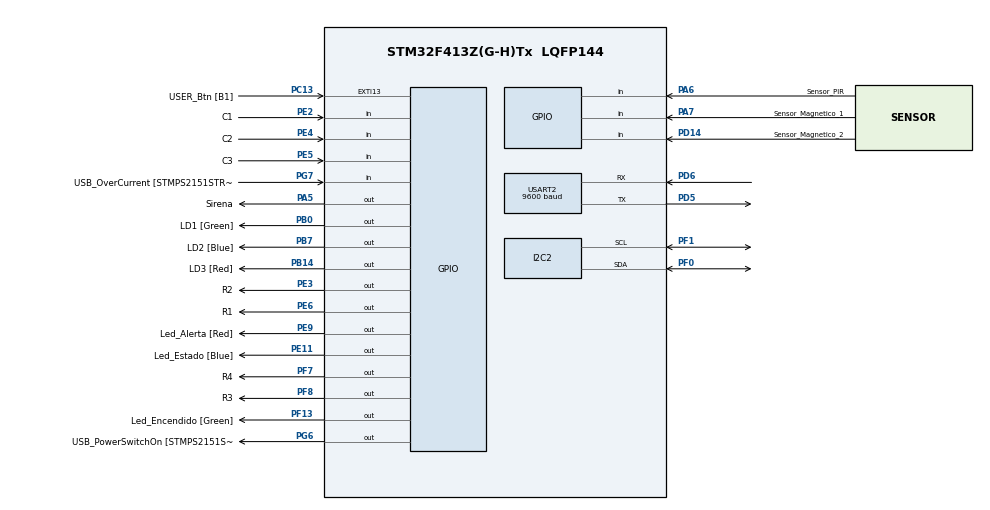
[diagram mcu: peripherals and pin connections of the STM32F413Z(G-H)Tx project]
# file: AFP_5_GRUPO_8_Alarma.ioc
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Mcu.Family=STM32F4
Mcu.Name=STM32F413Z(G-H)Tx
Mcu.Package=LQFP144
NVIC.PriorityGroup=NVIC_PRIORITYGROUP_4
NVIC.USART2_IRQn=true\:0\:0\:false\:false\:true\:true\:true\:true
PA13.GPIO_Label=TMS
PA13.Mode=Serial_Wire
PA13.Signal=SYS_JTMS-SWDIO
PA14.GPIO_Label=TCK
PA14.Mode=Serial_Wire
PA14.Signal=SYS_JTCK-SWCLK
PA5.GPIO_Label=Sirena
PA5.GPIO_PuPd=GPIO_PULLDOWN
PA5.Signal=GPIO_Output
PA6.GPIO_Label=Sensor_PIR
PA6.Signal=GPIO_Input
PA7.GPIO_Label=Sensor_Magnetico_1
PA7.Signal=GPIO_Input
PB0.GPIO_Label=LD1 [Green]
PB0.Signal=GPIO_Output
PB14.GPIO_Label=LD3 [Red]
PB14.Signal=GPIO_Output
PB7.GPIO_Label=LD2 [Blue]
PB7.Signal=GPIO_Output
PC13.GPIO_Label=USER_Btn [B1]
PC13.Signal=GPXTI13
PC14-OSC32_IN.Mode=LSE-External-Oscillator
PC14-OSC32_IN.Signal=RCC_OSC32_IN
PC15-OSC32_OUT.Mode=LSE-External-Oscillator
PC15-OSC32_OUT.Signal=RCC_OSC32_OUT
PD14.GPIO_Label=Sensor_Magnetico_2
PD14.Signal=GPIO_Input
PD5.Mode=Asynchronous
PD5.Signal=USART2_TX
PD6.Mode=Asynchronous
PD6.Signal=USART2_RX
PE11.GPIO_Label=Led_Estado [Blue]
PE11.Signal=GPIO_Output
PE2.GPIO_Label=C1
PE2.GPIO_PuPd=GPIO_PULLUP
PE2.Signal=GPIO_Input
PE3.GPIO_Label=R2
PE3.GPIO_ModeDefaultOutputPP=GPIO_MODE_OUTPUT_PP
PE3.PinState=GPIO_PIN_SET
PE3.Signal=GPIO_Output
PE4.GPIO_Label=C2
PE4.GPIO_PuPd=GPIO_PULLUP
PE4.Signal=GPIO_Input
PE5.GPIO_Label=C3
PE5.GPIO_PuPd=GPIO_PULLUP
PE5.Signal=GPIO_Input
PE6.GPIO_Label=R1
PE6.PinState=GPIO_PIN_SET
PE6.Signal=GPIO_Output
PE9.GPIO_Label=Led_Alerta [Red]
PE9.Signal=GPIO_Output
PF0.Mode=I2C
PF0.Signal=I2C2_SDA
PF1.Mode=I2C
PF1.Signal=I2C2_SCL
PF13.GPIO_Label=Led_Encendido [Green]
PF13.Signal=GPIO_Output
PF7.GPIO_Label=R4
PF7.PinState=GPIO_PIN_SET
PF7.Signal=GPIO_Output
PF8.GPIO_Label=R3
PF8.PinState=GPIO_PIN_SET
PF8.Signal=GPIO_Output
PG6.GPIO_Label=USB_PowerSwitchOn [STMPS2151STR_EN]
PG6.Signal=GPIO_Output
PG7.GPIO_Label=USB_OverCurrent [STMPS2151STR_FAULT]
PG7.Signal=GPIO_Input
PH0\ -\ OSC_IN.GPIO_Label=MCO
PH0\ -\ OSC_IN.Mode=HSE-External-Clock-Source
PH0\ -\ OSC_IN.Signal=RCC_OSC_IN
PH1\ -\ OSC_OUT.Mode=HSE-External-Clock-Source
PH1\ -\ OSC_OUT.Signal=RCC_OSC_OUT
ProjectManager.HeapSize=0x200
ProjectManager.StackSize=0x400
ProjectManager.TargetToolchain=STM32CubeIDE
RCC.48MHZClocksFreq_Value=24000000
RCC.AHBFreq_Value=96000000
RCC.APB1CLKDivider=RCC_HCLK_DIV2
RCC.APB1Freq_Value=48000000
RCC.APB1TimFreq_Value=96000000
RCC.APB2Freq_Value=96000000
RCC.APB2TimFreq_Value=96000000
RCC.CortexFreq_Value=96000000
RCC.HCLKFreq_Value=96000000
RCC.HSE_VALUE=8000000
RCC.HSI_VALUE=16000000
RCC.PLLM=8
RCC.PLLMUL=RCC_PLL_MUL9
RCC.PLLN=384
RCC.PLLP=RCC_PLLP_DIV4
RCC.PLLQ=8
RCC.PLLSourceVirtual=RCC_PLLSOURCE_HSE
RCC.PRESCALERUSB=RCC_USBCLKSOURCE_PLL_DIV1_5
RCC.SYSCLKFreq_VALUE=96000000
RCC.SYSCLKSource=RCC_SYSCLKSOURCE_PLLCLK
RCC.SYSCLKSourceVirtual=RCC_SYSCLKSOURCE_PLLCLK
RCC.USBFreq_Value=48000000
RCC.VCOOutputFreq_Value=384000000
USART2.BaudRate=9600
USART2.VirtualMode=VM_ASYNC
board=NUCLEO-F413ZH

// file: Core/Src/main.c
/* USER CODE BEGIN Header */
/**
  ******************************************************************************
  * @file           : main.c
  * @brief          : Main program body
  ******************************************************************************
  * @attention
  *
  * Copyright (c) 2025 STMicroelectronics.
  * All rights reserved.
  *
  * This software is licensed under terms that can be found in the LICENSE file
  * in the root directory of this software component.
  * If no LICENSE file comes with this software, it is provided AS-IS.
  *
  ******************************************************************************
  */
/* USER CODE END Header */
#include "main.h"

/* USER CODE BEGIN Includes */
#include "API_BT.h"					// Libreria para el manejo de modulo BT HC-05 USART2
#include "API_Debounce.h"			// Libreria para anti rebote de pulsadores
#include "API_Delay.h"				// Libreria Delay no bloqueante
#include "API_GPIO.h"				// Libreria modulos GPIO
#include "API_Keypad.h"				// Librería para manejar el teclado matricial 4x3
#include "API_LCD.h"				// Librería para manejar una pantalla 2x16 mediante I2C

#include <stdio.h>
#include <string.h>
#include <stdbool.h>
#include "stm32f4xx_hal.h"
#include "stm32f4xx_hal_i2c.h"
/* USER CODE END Includes */

/* USER CODE BEGIN PTD */
typedef enum {
	MAIN_MENU,
	ALARM_MENU,
	CHANGE_PASS_MENU,
	TEST_ALARM_MENU,
	ACTIVE_ALARM
} MenuState;
/* USER CODE END PTD */

I2C_HandleTypeDef hi2c2;

UART_HandleTypeDef huart2;

/* USER CODE BEGIN PV */
char currentPassword[5] = "1234";  							// Contraseña inicial por defecto
char newPassword[5];               							// Para almacenar la nueva contraseña
char key;
MenuState currentState = MAIN_MENU;
bool includeMotionSensor = false;
bool MotionDetected_1, MotionDetected_2, MotionDectected_PIR;
bool alarmActivated = false;   								// Estado de la alarma
bool countdownStarted = false; 								// Temporizador interno
char inputBuffer[5];
uint8_t inputIndex = 0;
uint32_t startTime = 0;        								// Momento en que inicia el temporizador interno
bool ledBlinking;

delay_t DelayGRAL_1;					// Variables de retardos generales para uso independiente
delay_t DelayGRAL_2;
delay_t	LCD_Muestro;					// Delay para muestreo de mensaje en LCD
delay_t Delay_Sirena;
delay_t ledBlinkDelay;
/* USER CODE END PV */

void SystemClock_Config(void);
/* USER CODE BEGIN PFP */
void DisplayMainMenu();
void HandleMainMenuInput(char key);
void DisplayAlarmMenu();
void HandleAlarmMenuInput(char key);
void RequestPassword(void (*onSuccess)(void), void (*onFailure)(void));
void ActivateAlarm();
void DeactivateAlarm();
void DisplayChangePassMenu();
void ConfirmNewPassword();
void HandleSubMenu();
void TestAlarm();
extern void AlarmTriggered();
void IncorrectPassword();
void HandleActiveAlarm(char key);
void CheckSensors();
void CheckAlarmDeactivation(char key);

/* USER CODE END PFP */

int main(void)
{

  /* MCU Configuration--------------------------------------------------------*/

  /* Reset of all peripherals, Initializes the Flash interface and the Systick. */
  HAL_Init();

  /* USER CODE BEGIN Init */
  MX_GPIO_Init();
  MX_USART2_UART_Init();
  keypad_init();

  BT_Test();

  MX_I2C2_Init();
  HAL_Delay(30);
  lcd_init();

  /* USER CODE END Init */

  /* Configure the system clock */

  /* Initialize all configured peripherals */

  /* USER CODE BEGIN 2 */
  HAL_GPIO_WritePin(Led_Encendido_GPIO_Port, Led_Encendido_Pin, GPIO_PIN_SET);
  DisplayMainMenu();
  delayInit(&DelayGRAL_1,20000);
  delayInit(&DelayGRAL_2,10000);
  delayInit(&LCD_Muestro,2000);
  delayInit(&Delay_Sirena,500);
  delayInit(&ledBlinkDelay, 30000);

  /* USER CODE END 2 */

  /* Infinite loop */
  /* USER CODE BEGIN WHILE */
  while (1)
  {
	  key = keypad_getkey(); // Modificacion del if dentro del switch
	  switch (currentState){
		  case MAIN_MENU:
			  	  if (key != '\0') HandleMainMenuInput(key);
			  	  break;
		  case ALARM_MENU:
			  	  if (key != '\0') HandleAlarmMenuInput(key);
			  	  break;
		  case CHANGE_PASS_MENU:
		  case TEST_ALARM_MENU:
		  case ACTIVE_ALARM:
			  	  CheckSensors();
			  	  break;
	  }
    /* USER CODE END WHILE */

  }
}

// AQUI

/* USER CODE BEGIN 4 */
/*****************************************************************************************************************
 * @brief: Función para mostrar el menú principal
 * @param: void
 * @retval: void
******************************************************************************************************************/
void DisplayMainMenu() {
	HAL_GPIO_WritePin(Led_Estado_GPIO_Port, Led_Estado_Pin, GPIO_PIN_RESET);
    lcd_clear();
    lcd_set_cursor(0, 0);
    lcd_print("1.Activar *.Mas");
    lcd_set_cursor(1, 0);
    lcd_print("2.Cambiar Pass");
    currentState = MAIN_MENU;
}

/*****************************************************************************************************************
 * @brief: Manejo de la entrada del menú principal
 * @param: recibe una variable tipo caracter para entrar en las distintas opciones de menu
 * @retval: void
******************************************************************************************************************/
void HandleMainMenuInput(char key) {
    switch (key) {
        case '1':
            DisplayAlarmMenu();
            break;
        case '2':
            DisplayChangePassMenu();
            break;
        case '*':
            HandleSubMenu();
            break;
    }
}

/*****************************************************************************************************************
 * @brief: Mostrar menú para activar alarma
 * @param: void
 * @retval: void
******************************************************************************************************************/
void DisplayAlarmMenu(void) {
    lcd_clear();
    lcd_set_cursor(0, 0);
    lcd_print("1.Sist Completo");
    lcd_set_cursor(1, 0);
    lcd_print("2.Sin Sensor Mov");
    currentState = ALARM_MENU;
}

/*****************************************************************************************************************
 * @brief: Manejo de la entrada del menú de alarma
 * @param: Recibe variable tipo caracter
 * @retval:
******************************************************************************************************************/
void HandleAlarmMenuInput(char key) {
    switch (key) {
        case '1':  // Modo "Sistema Completo"
            includeMotionSensor = true;
            HAL_GPIO_WritePin(Led_Estado_GPIO_Port, Led_Estado_Pin, GPIO_PIN_RESET);
            RequestPassword(ActivateAlarm, DisplayAlarmMenu);
            break;
        case '2':  // Modo "Sin Sensor de Movimiento"
            includeMotionSensor = false;
            HAL_GPIO_WritePin(Led_Estado_GPIO_Port, Led_Estado_Pin, GPIO_PIN_SET);
            RequestPassword(ActivateAlarm, DisplayAlarmMenu);
            break;
        case '*':  // Si el usuario presiona "*", volver al menú principal
            lcd_clear();
            lcd_set_cursor(0, 0);
            lcd_print("Operacion");
            lcd_set_cursor(1, 0);
            lcd_print("Cancelada");
            while(!delayRead(&LCD_Muestro)){
            	// Espacio para ejecutar tareas mientras muestra el mensaje anterior
            }
            HAL_GPIO_WritePin(Led_Estado_GPIO_Port, Led_Estado_Pin, GPIO_PIN_RESET);
            DisplayMainMenu();  		// Volver al menú principal
            break;
    }
}

/********************************************************************************************************************************
 * @brief: Solicitud de contraseña al usuario
 * @param: Recibe funciones, posibilidades: opc1 =(Activate Alarm, DisplayAlarmMenu), opc2= (DeactivateAlarm, IncorrectPassword)
 * @retval: void
********************************************************************************************************************************/
void RequestPassword(void (*onSuccess)(void), void (*onFailure)(void)) {
    while (1) { 											// Bucle para reintentar si la contraseña es incorrecta
        lcd_clear();
        lcd_set_cursor(0, 0);
        lcd_print("Contrasena:____");
        memset(inputBuffer, 0, sizeof(inputBuffer));		// Re-incializa la variable en [0000]
        inputIndex = 0;

        uint32_t startTime = HAL_GetTick();  // Guardar el tiempo de inicio

        while (1) {

            if (HAL_GetTick() - startTime > 20000) { // Si pasan más de 20 segundos sin entrada
                lcd_clear();
                lcd_set_cursor(0, 0);
                lcd_print("Tiempo agotado");
                lcd_set_cursor(1, 0);
                lcd_print("Volviendo...");
                while(!delayRead(&LCD_Muestro)){			//Delay 2 segundos
                	// Espacio para ejecutar tareas mientras muestra el mensaje anterior
                }
                DisplayMainMenu();  						// Volver al menú principal
                return;
            }

            key = keypad_getkey();

            if (key != '\0') {

                if (key == '*') {  							// Si presiona "*", vuelve al menú principal
                    lcd_clear();
                    lcd_set_cursor(0, 0);
                    lcd_print("Operacion");
                    lcd_set_cursor(1, 0);
                    lcd_print("Cancelada");
                    while(!delayRead(&LCD_Muestro)){
                    	// Espacio para ejecutar tareas mientras muestra el mensaje anterior
                    }
                    DisplayMainMenu();  					// Volver al menú principal
                    return;
                }

                if (key >= '0' && key <= '9' && inputIndex < 4) {
                    inputBuffer[inputIndex++] = key;
                    lcd_set_cursor(1, 10 + inputIndex - 1);
                    lcd_print("*");
                }else if (key == '#') { 					//  Cuando se presiona "#", verifica la clave
                    inputBuffer[inputIndex] = '\0';
                    if (strcmp(inputBuffer, currentPassword) == 0) {// strcmp compara 2 cadenas de caractares y devuelve un entero =0 si son iguales
                        onSuccess(); // Si la clave es correcta, sale de la función y retorna a la funcion ActivateAlarm
                        return;
                    } else {
                        //  Si la contraseña es incorrecta, mostrar mensaje y volver a pedirla
                        lcd_clear();
                        lcd_set_cursor(0, 0);
                        lcd_print("Contrasena");
                        lcd_set_cursor(1, 0);
                        lcd_print("Incorrecta");
                        while(!delayRead(&LCD_Muestro)){
                        	// Espacio para ejecutar tareas mientras muestra el mensaje anterior
                        }
                        break;  //  Sale de este while pero vuelve al inicio del while externo dentro de RequestPassword
                    }
                }
            }
        }
    }
}

/*****************************************************************************************************************
 * @brief: Activar la alarma
 * @param: void
 * @retval: void
******************************************************************************************************************/
void ActivateAlarm() {
    lcd_clear();
    lcd_set_cursor(0, 0);
    lcd_print("Alarma Activada");
    lcd_set_cursor(1, 0);
    lcd_print("Corran: 20 seg");

    BT_SendMessage("⚠️ Alarma activada. Corran 20s... \r\n");

    uint32_t countdownStart = HAL_GetTick();
    uint32_t remainingTime = 20;

    while (remainingTime > 0) {
        if (HAL_GetTick() - countdownStart >= 1000) {
        	HAL_GPIO_WritePin(Sirena_GPIO_Port, Sirena_Pin, GPIO_PIN_RESET);
            countdownStart = HAL_GetTick();
            remainingTime--;

            lcd_set_cursor(1, 7);
            lcd_print("   ");
            lcd_set_cursor(1, 7);
            char buffer[3];
            sprintf(buffer, "%2lu", (unsigned long)remainingTime);
            lcd_print(buffer);

            // Envía el valor del contador por Bluetooth
              char btBuffer[50];
              snprintf(btBuffer, sizeof(btBuffer), "Corran: %02lu seg restantes\r\n", (unsigned long)remainingTime);
              HAL_GPIO_WritePin(Sirena_GPIO_Port, Sirena_Pin, GPIO_PIN_SET);
              BT_SendMessage(btBuffer);
        }
    }

    lcd_clear();
    lcd_set_cursor(0, 0);
    lcd_print("Alarma");
    lcd_set_cursor(1, 0);
    lcd_print("Activa!");

    BT_SendMessage("🚨 Alarma activada! \r\n");
    HAL_GPIO_WritePin(Led_Alerta_GPIO_Port, Led_Alerta_Pin, GPIO_PIN_SET);
    alarmActivated = true;
    currentState = ACTIVE_ALARM;

    while (alarmActivated) {
        key = keypad_getkey();
        if (key != '\0') {
            CheckAlarmDeactivation(key);  // Nueva función para manejar la desactivación con temporizador
        }
        CheckSensors();
    }
}

/*****************************************************************************************************************
 * @brief: Manejar la alarma activa
 * @param: Recibe variable tipo caracter
 * @retval: void
******************************************************************************************************************/
void HandleActiveAlarm(char key) {
    if (key == '#') { 							// Botón para intentar desactivar
        lcd_clear();
        lcd_set_cursor(0, 0);
        lcd_print("Ingrese");
        lcd_set_cursor(1, 0);
        lcd_print("Contrasena:");
        RequestPassword(DeactivateAlarm, IncorrectPassword);
    }

    //  Verificar si recibe el código de desactivación por Bluetooth
       char btData;
       if (HAL_UART_Receive(&huart2, (uint8_t *)&btData, 1, 100) == HAL_OK) {
           if (btData == '#') {  // Si el usuario envía "#" desde la app, desactiva la alarma
               RequestPassword(DeactivateAlarm, IncorrectPassword);
           }
       }
}

/*****************************************************************************************************************
 * @brief: Desactivar la alarma si la contraseña es correcta
 * @param: void
 * @retval: void
******************************************************************************************************************/
void DeactivateAlarm(void) {
    lcd_clear();
    lcd_set_cursor(0, 0);
    lcd_print("Alarma");
    lcd_set_cursor(1, 0);
    lcd_print("Desactivada");

    BT_SendMessage("✅ Alarma desactivada. Todo en orden. \r\n"); // 🔹 Notificación de desactivación

    alarmActivated = false;

    // Asegurar que el buzzer se apaga
    HAL_GPIO_WritePin(Sirena_GPIO_Port, Sirena_Pin, GPIO_PIN_RESET);
    HAL_GPIO_WritePin(Led_Alerta_GPIO_Port, Led_Alerta_Pin, GPIO_PIN_RESET);
    while(!delayRead(&LCD_Muestro)){
    	// Espacio para ejecutar tareas mientras muestra el mensaje anterior
    }
    DisplayMainMenu();
}

/*****************************************************************************************************************
 * @brief: Contraseña incorrecta: mensaje y reinicio de intento
 * @param: void
 * @retval: void
******************************************************************************************************************/
void IncorrectPassword(void) {
    lcd_clear();
    lcd_set_cursor(0, 0);
    lcd_print("Contrasena");
    lcd_set_cursor(1, 0);
    lcd_print("Incorrecta");
    while(!delayRead(&LCD_Muestro)){ 	// Mostrar mensaje durante 2 segundos

    // Iniciar temporizador interno si aún no está activo
    if (!countdownStarted) {
        countdownStarted = true;
        startTime = HAL_GetTick(); // Guardar tiempo actual
    }

    /*// Iniciar temporizador de 31 segundos si aún no está activo
    	static delay_t countdownDelay;  // Variable estática para mantener el estado del temporizador
    	static bool countdownStarted = false;

    	if (!countdownStarted) {
    		countdownStarted = true;
    		delayInit(&countdownDelay, 31000); // Iniciar temporizador de 31 segundos
    	}
    	*/
    }
    // Solicitar nuevamente la contraseña
    lcd_clear();
    lcd_set_cursor(0, 0);
    lcd_print("Ingrese");
    lcd_set_cursor(1, 0);
    lcd_print("Contrasena:");
}

/*****************************************************************************************************************
 * @brief: Activar alarma sonora
 * @param: void
 * @retval: void
******************************************************************************************************************/
void AlarmTriggered(void) {
    lcd_clear();
    lcd_set_cursor(0, 0);
    lcd_print("ALERTA!!!");
    lcd_set_cursor(1, 0);
    lcd_print("Ingrese clave");

    BT_SendMessage("⚠️ Alarma Disparada! \r\n"); // Enviar mensaje por Bluetooth
    uint32_t lastToggleTime = HAL_GetTick();  // Tiempo de referencia para el buzzer

    while (alarmActivated) {
       // Alternar el buzzer cada 500 ms sin bloquear el sistema
    	if (HAL_GetTick() - lastToggleTime >= 500) {
    	    lastToggleTime = HAL_GetTick();
    	    HAL_GPIO_TogglePin(Sirena_GPIO_Port, Sirena_Pin);
    	    HAL_GPIO_TogglePin(Led_Alerta_GPIO_Port, Led_Alerta_Pin);
    	}
    	/*if (delayRead(&Delay_Sirena)){
    		HAL_GPIO_TogglePin(Sirena_GPIO_Port, Sirena_Pin);
    	}*/

        // Permitir que el usuario intente apagar la alarma
        key = keypad_getkey();
        if (key != '\0') {
            RequestPassword(DeactivateAlarm, IncorrectPassword);
        }
    }

    // Apagar el buzzer cuando la alarma se desactiva
    HAL_GPIO_WritePin(Sirena_GPIO_Port, Sirena_Pin, GPIO_PIN_RESET);
    HAL_GPIO_WritePin(Led_Alerta_GPIO_Port, Led_Alerta_Pin, GPIO_PIN_RESET);
}

/*****************************************************************************************************************
 * @brief: Cambiar contraseña
 * @param: void
 * @retval: void
******************************************************************************************************************/
void DisplayChangePassMenu() {
    lcd_clear();
    lcd_set_cursor(0, 0);
    lcd_print("Contrasena");
    lcd_set_cursor(1, 0);
    lcd_print("Actual:");

    delayInit(&ledBlinkDelay, 30000);

    ledBlinking = true;
    uint32_t startTime = HAL_GetTick();  // Guardar el tiempo actual
    while (1) {  // Bucle para capturar la tecla antes de solicitar la contraseña
        key = keypad_getkey();

        if (delayRead(&ledBlinkDelay)) {
            toggleLed_GPIO(Led_Estado_Pin);
        }
        //  Si pasan más de 20 segundos sin tocar una tecla, vuelve al menú principal
        if (HAL_GetTick() - startTime > 20000){
            lcd_clear();
            lcd_set_cursor(0, 0);
            lcd_print("Tiempo Expirado");
            while(!delayRead(&LCD_Muestro)){		//Delay 2 segundos
            	// Espacio para ejecutar tareas mientras muestra el mensaje anterior
            }
            DisplayMainMenu();
            return;
        }

        if (key == '*') {  //  Si el usuario presiona "*", volver al menú principal
            lcd_clear();
            lcd_set_cursor(0, 0);
            lcd_print("Operacion");
            lcd_set_cursor(1, 0);
            lcd_print("Cancelada");
            while(!delayRead(&LCD_Muestro)){		//Delay 2 segundos
            	// Espacio para ejecutar tareas mientras muestra el mensaje anterior
            }
            DisplayMainMenu();
            return;
        }

        if (key != '\0') {  // 🔹 Si presiona otra tecla, salir del bucle y continuar con la contraseña
            break;
        }
    }

    RequestPassword(ConfirmNewPassword, DisplayChangePassMenu);  // Solicitar la contraseña actual
}

/*****************************************************************************************************************
 * @brief:
 * @param:
 * @retval:
******************************************************************************************************************/
void ConfirmNewPassword(){
    delayInit(&ledBlinkDelay, 20000);
    lcd_clear();
    lcd_set_cursor(0, 0);
    lcd_print("Nueva Clave:");

    memset(inputBuffer, 0, sizeof(inputBuffer));
    inputIndex = 0;
    uint32_t startTime = HAL_GetTick();  // Tiempo de inicio para evitar bucles infinitos

    while (HAL_GetTick() - startTime < 20000) {  // Tiempo límite de 20 segundos
        key = keypad_getkey();

        if (delayRead(&ledBlinkDelay)) {
            toggleLed_GPIO(Led_Estado_Pin);
        }
        if (key >= '0' && key <= '9' && inputIndex < 4) {
            inputBuffer[inputIndex++] = key;
            lcd_set_cursor(1, inputIndex - 1);
            lcd_print("*");
        } else if (key == '#') {
            if (inputIndex == 4) {  // Validar que la clave tenga 4 dígitos
                inputBuffer[inputIndex] = '\0';
                strcpy(newPassword, inputBuffer);

                lcd_clear();
                lcd_set_cursor(0, 0);
                lcd_print("Confirmar: ");
                lcd_set_cursor(1, 0);
                lcd_print("#.Si   *.No");

                uint32_t confirmStart = HAL_GetTick();

                while (HAL_GetTick() - confirmStart < 10000) {  			// Espera 10 segundos para confirmar
                    char confirmKey = keypad_getkey();
                    if (confirmKey == '#') {
                        strcpy(currentPassword, newPassword);
                        lcd_clear();
                        lcd_set_cursor(0, 0);
                        lcd_print("Clave Actualizada");
                        HAL_GPIO_WritePin(Led_Estado_GPIO_Port, Led_Estado_Pin, GPIO_PIN_SET);
                        while(!delayRead(&LCD_Muestro)){
                                 // Espacio para ejecutar tareas mientras muestra el mensaje anterior
                        }
                        DisplayMainMenu();
                        return;
                    } else if (confirmKey == '*') {
                        ConfirmNewPassword();  				// Volver a solicitar la clave
                        return;
                    }
                }
            } else {
                lcd_clear();
                lcd_set_cursor(0, 0);
                lcd_print("Debe ser 4 ");
                lcd_set_cursor(1, 0);
                lcd_print("digitos ");
                while(!delayRead(&LCD_Muestro)){
                                	// Espacio para ejecutar tareas mientras muestra el mensaje anterior
                }
                ConfirmNewPassword();  // Reiniciar el proceso
                return;  // Reiniciar el proceso
            }
        }
    }

    // Si el usuario no ingresa nada en 20 segundos, volver al menú principal
    lcd_clear();
    lcd_set_cursor(0, 0);
    lcd_print("Tiempo ");
    lcd_set_cursor(1, 0);
    lcd_print("Excedido ");
    while(!delayRead(&LCD_Muestro)){
        	// Espacio para ejecutar tareas mientras muestra el mensaje anterior
    }
    HAL_GPIO_WritePin(Led_Encendido_GPIO_Port, Led_Encendido_Pin, GPIO_PIN_SET);
    DisplayMainMenu();
}

/*****************************************************************************************************************
 * @brief: Submenú "Más"
 * @param:
 * @retval:
******************************************************************************************************************/
void HandleSubMenu() {
    lcd_clear();
    lcd_set_cursor(0, 0);
    lcd_print("#.Volver ");
    lcd_set_cursor(1, 0);
    lcd_print("3.Prueba");

    while (1) {
        key = keypad_getkey();

        if (key != '\0') {
            if (key == '#') {
                DisplayMainMenu();
                return;
            } else if (key == '3') {
                TestAlarm();
                return;
            }
        }
    }
}

/*****************************************************************************************************************
 * @brief:
 * @param:
 * @retval:
******************************************************************************************************************/
// Prueba de alarma
void TestAlarm() {
    lcd_clear();
    lcd_set_cursor(0, 0);
    lcd_print("Prueba de");
    lcd_set_cursor(1, 0);
    lcd_print("Alarma...");

    // Activar el buzzer en PA5
    HAL_GPIO_WritePin(Sirena_GPIO_Port, Sirena_Pin, GPIO_PIN_SET);
    while(!delayRead(&LCD_Muestro)){		//Delay 2 segundos
        	// Espacio para ejecutar tareas mientras muestra el mensaje anterior
    }
    HAL_GPIO_WritePin(Sirena_GPIO_Port, Sirena_Pin, GPIO_PIN_RESET);

    HAL_Delay(1000);  // Pequeña pausa antes de volver al menú
    DisplayMainMenu();
}

/*****************************************************************************************************************
 * @brief: Chequeo de sensores
 * @param: void
 * @retval: void
******************************************************************************************************************/
void CheckSensors(void) {
   /* if (alarmActivated) {
        // Verificar si se abre una puerta o ventana (Sensor_Magnetico_1)
        bool doorOpened_1 = (HAL_GPIO_ReadPin(GPIOA, Sensor_Magnetico_1_Pin) == GPIO_PIN_RESET);
        //MotionDetected_1 = false;

        // Verificar si se abre una puerta o ventana (Sensor_Magnetico_2)
        bool doorOpened_2 = (HAL_GPIO_ReadPin(Sensor_Magnetico_2_GPIO_Port, Sensor_Magnetico_2_Pin) == GPIO_PIN_RESET);
        MotionDetected_1 = false;

        // Verificar el sensor PIR si está activado en "Sist Completo"
        if (includeMotionSensor) {
        	MotionDectected_1 = HAL_GPIO_ReadPin(GPIOA, Sensor_PIR_Pin);

            // Filtro por software para evitar falsas detecciones
            HAL_Delay(50);
            if (HAL_GPIO_ReadPin(GPIOA, Sensor_PIR_Pin) != MotionDectected_PIR) {
            	MotionDectected_1 = false; // Ignorar si el estado cambió muy rápido
            }
        }

        // Evaluar si se debe activar la alarma
        if (doorOpened_1 || doorOpened_2 || (includeMotionSensor && MotionDectected_PIR)) {
            AlarmTriggered();
        }
    } */

	if (alarmActivated) {
	        // Verificar si se abre una puerta o ventana (sensor magnético)
	        bool motionDetected = false;
	        // Verificar si se abre una puerta o ventana (Sensor_Magnetico_1)
	        bool doorOpened_1 = (HAL_GPIO_ReadPin(GPIOA, Sensor_Magnetico_1_Pin) == GPIO_PIN_RESET);

            // Verificar si se abre una puerta o ventana (Sensor_Magnetico_2)
	         bool doorOpened_2 = (HAL_GPIO_ReadPin(Sensor_Magnetico_2_GPIO_Port, Sensor_Magnetico_2_Pin) == GPIO_PIN_RESET);

	        // Solo verificar el sensor PIR si está activado en "Sist Completo"
	        if (includeMotionSensor) {
	            motionDetected =  HAL_GPIO_ReadPin(GPIOA, Sensor_PIR_Pin);

	            // Filtro por software para evitar falsas detecciones
	            HAL_Delay(50);
	            if (HAL_GPIO_ReadPin(GPIOA, Sensor_PIR_Pin) != motionDetected) {
	                motionDetected = false; // Ignorar si el estado cambió muy rápido
	            }
	        }

	        // Evaluar si se debe activar la alarma
	        if (doorOpened_1 || doorOpened_2 || (includeMotionSensor && motionDetected)) {
	        	AlarmTriggered();
	        }
	    }
	}

/*****************************************************************************************************************
 * @brief:
 * @param:
 * @retval:
******************************************************************************************************************/
void CheckAlarmDeactivation(char key) {
	//static delay_t countdownDelay;
	static bool countdownStarted = false;

	if (!countdownStarted) {
		countdownStarted = true;
		startTime = HAL_GetTick(); // Iniciar temporizador de 31 segundos
	}

	RequestPassword(DeactivateAlarm, IncorrectPassword);

	// Si pasan 31 segundos sin ingresar la clave correcta, activar la alarma
	if (HAL_GetTick() - startTime >= 31000) {
		AlarmTriggered();
	}
}

/* USER CODE END 4 */

void Error_Handler(void)
{
  __disable_irq();
  while (1)
  {
  }
}
